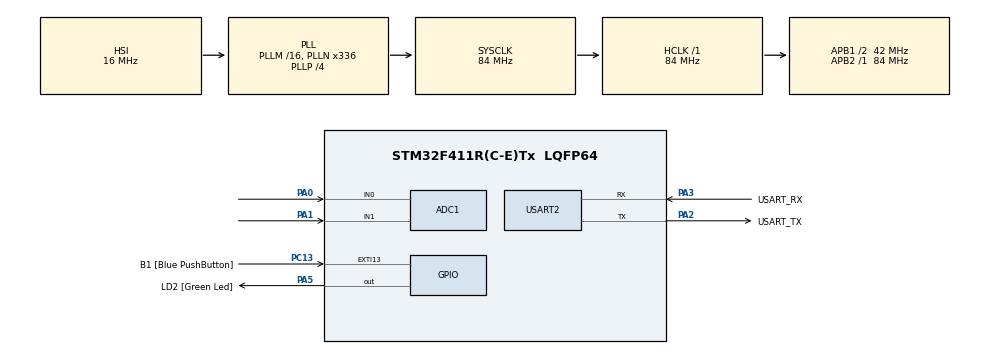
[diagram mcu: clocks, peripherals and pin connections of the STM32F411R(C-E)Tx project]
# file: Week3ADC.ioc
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ADC1.Channel-0\#ChannelRegularConversion=ADC_CHANNEL_0
ADC1.DiscontinuousConvMode=DISABLE
ADC1.NbrOfConversion=1
ADC1.NbrOfConversionFlag=1
ADC1.Rank-0\#ChannelRegularConversion=1
ADC1.SamplingTime-0\#ChannelRegularConversion=ADC_SAMPLETIME_3CYCLES
ADC1.master=1
Mcu.Family=STM32F4
Mcu.Name=STM32F411R(C-E)Tx
Mcu.Package=LQFP64
NVIC.PriorityGroup=NVIC_PRIORITYGROUP_0
PA0-WKUP.Signal=ADCx_IN0
PA1.Signal=ADCx_IN1
PA13.GPIO_Label=TMS
PA13.Mode=Serial_Wire
PA13.Signal=SYS_JTMS-SWDIO
PA14.GPIO_Label=TCK
PA14.Mode=Serial_Wire
PA14.Signal=SYS_JTCK-SWCLK
PA2.GPIO_Label=USART_TX
PA2.Mode=Asynchronous
PA2.Signal=USART2_TX
PA3.GPIO_Label=USART_RX
PA3.Mode=Asynchronous
PA3.Signal=USART2_RX
PA5.GPIO_Label=LD2 [Green Led]
PA5.Signal=GPIO_Output
PB3.GPIO_Label=SWO
PB3.Signal=SYS_JTDO-SWO
PC13-ANTI_TAMP.GPIO_Label=B1 [Blue PushButton]
PC13-ANTI_TAMP.GPIO_ModeDefaultEXTI=GPIO_MODE_IT_FALLING
PC13-ANTI_TAMP.Signal=GPXTI13
PC14-OSC32_IN.Mode=LSE-External-Oscillator
PC14-OSC32_IN.Signal=RCC_OSC32_IN
PC15-OSC32_OUT.Mode=LSE-External-Oscillator
PC15-OSC32_OUT.Signal=RCC_OSC32_OUT
PH0\ -\ OSC_IN.Mode=HSE-External-Clock-Source
PH0\ -\ OSC_IN.Signal=RCC_OSC_IN
PH1\ -\ OSC_OUT.Mode=HSE-External-Clock-Source
PH1\ -\ OSC_OUT.Signal=RCC_OSC_OUT
ProjectManager.HeapSize=0x200
ProjectManager.StackSize=0x400
ProjectManager.TargetToolchain=STM32CubeIDE
RCC.48MHZClocksFreq_Value=84000000
RCC.AHBFreq_Value=84000000
RCC.APB1CLKDivider=RCC_HCLK_DIV2
RCC.APB1Freq_Value=42000000
RCC.APB1TimFreq_Value=84000000
RCC.APB2Freq_Value=84000000
RCC.APB2TimFreq_Value=84000000
RCC.CortexFreq_Value=84000000
RCC.FLatency-AdvancedSettings=FLASH_LATENCY_2
RCC.HCLKFreq_Value=84000000
RCC.HSE_VALUE=8000000
RCC.HSI_VALUE=16000000
RCC.PLLN=336
RCC.PLLP=RCC_PLLP_DIV4
RCC.SYSCLKFreq_VALUE=84000000
RCC.SYSCLKSource=RCC_SYSCLKSOURCE_PLLCLK
RCC.VCOOutputFreq_Value=336000000
SH.ADCx_IN0.0=ADC1_IN0,IN0
SH.ADCx_IN1.0=ADC1_IN1,IN1
USART2.VirtualMode=VM_ASYNC
VP_ADC1_TempSens_Input.Mode=IN-TempSens
board=NUCLEO-F411RE

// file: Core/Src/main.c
/* USER CODE BEGIN Header */
/**
 ******************************************************************************
 * @file           : main.c
 * @brief          : Main program body
 ******************************************************************************
 * @attention
 *
 * <h2><center>&copy; Copyright (c) 2021 STMicroelectronics.
 * All rights reserved.</center></h2>
 *
 * This software component is licensed by ST under BSD 3-Clause license,
 * the "License"; You may not use this file except in compliance with the
 * License. You may obtain a copy of the License at:
 *                        opensource.org/licenses/BSD-3-Clause
 *
 ******************************************************************************
 */
/* USER CODE END Header */
#include "main.h"

ADC_HandleTypeDef hadc1;

UART_HandleTypeDef huart2;

/* USER CODE BEGIN PV */
uint16_t adcdata[2] = { 0 };
float ADCOutputConverted = 0.0;
int ADCMode = 0;
typedef struct {
	ADC_ChannelConfTypeDef Config;
	uint16_t data;
} ADCStructure;
int clck[2];
ADCStructure ADCChannel[2] = { 0 };
float Temp;
/* USER CODE END PV */

void SystemClock_Config(void);
static void MX_GPIO_Init(void);
static void MX_USART2_UART_Init(void);
static void MX_ADC1_Init(void);
/* USER CODE BEGIN PFP */
void ADCPollingMethodInit();
void ADCPollingMethodUpdate();
/* USER CODE END PFP */

int main(void) {

	/* MCU Configuration--------------------------------------------------------*/

	/* Reset of all peripherals, Initializes the Flash interface and the Systick. */
	HAL_Init();

	/* Configure the system clock */
	SystemClock_Config();

	/* Initialize all configured peripherals */
	MX_GPIO_Init();
	MX_USART2_UART_Init();
	MX_ADC1_Init();
	/* USER CODE BEGIN 2 */
	ADCPollingMethodInit();

	/* USER CODE END 2 */

	/* Infinite loop */
	while (1) {

		/* USER CODE BEGIN 3 */
		ADCPollingMethodUpdate();
		clck[0] = HAL_GPIO_ReadPin(GPIOC, GPIO_PIN_13);
		if (clck[0] == 0 && clck[1] != 0){
			if (ADCMode == 0) ADCMode = 1;
			else ADCMode = 0;
		}
		clck[1] = clck[0];
		if(ADCMode == 0){
			ADCOutputConverted = ADCChannel[0].data /4096.0*3300.0;
		}
		if(ADCMode == 1){
			Temp = ADCChannel[1].data/4096.0*3.3 ;
			ADCOutputConverted = ((ADCChannel[1].data/4096.0*3.3 - 0.76) / 2.5 *1000) +25;
		}
	}
	/* USER CODE END 3 */
}

void SystemClock_Config(void) {
	RCC_OscInitTypeDef RCC_OscInitStruct = { 0 };
	RCC_ClkInitTypeDef RCC_ClkInitStruct = { 0 };

	/** Configure the main internal regulator output voltage
	 */
	__HAL_RCC_PWR_CLK_ENABLE();
	__HAL_PWR_VOLTAGESCALING_CONFIG(PWR_REGULATOR_VOLTAGE_SCALE1);
	/** Initializes the RCC Oscillators according to the specified parameters
	 * in the RCC_OscInitTypeDef structure.
	 */
	RCC_OscInitStruct.OscillatorType = RCC_OSCILLATORTYPE_HSI;
	RCC_OscInitStruct.HSIState = RCC_HSI_ON;
	RCC_OscInitStruct.HSICalibrationValue = RCC_HSICALIBRATION_DEFAULT;
	RCC_OscInitStruct.PLL.PLLState = RCC_PLL_ON;
	RCC_OscInitStruct.PLL.PLLSource = RCC_PLLSOURCE_HSI;
	RCC_OscInitStruct.PLL.PLLM = 16;
	RCC_OscInitStruct.PLL.PLLN = 336;
	RCC_OscInitStruct.PLL.PLLP = RCC_PLLP_DIV4;
	RCC_OscInitStruct.PLL.PLLQ = 4;
	if (HAL_RCC_OscConfig(&RCC_OscInitStruct) != HAL_OK) {
		Error_Handler();
	}
	/** Initializes the CPU, AHB and APB buses clocks
	 */
	RCC_ClkInitStruct.ClockType = RCC_CLOCKTYPE_HCLK | RCC_CLOCKTYPE_SYSCLK
			| RCC_CLOCKTYPE_PCLK1 | RCC_CLOCKTYPE_PCLK2;
	RCC_ClkInitStruct.SYSCLKSource = RCC_SYSCLKSOURCE_PLLCLK;
	RCC_ClkInitStruct.AHBCLKDivider = RCC_SYSCLK_DIV1;
	RCC_ClkInitStruct.APB1CLKDivider = RCC_HCLK_DIV2;
	RCC_ClkInitStruct.APB2CLKDivider = RCC_HCLK_DIV1;

	if (HAL_RCC_ClockConfig(&RCC_ClkInitStruct, FLASH_LATENCY_2) != HAL_OK) {
		Error_Handler();
	}
}

static void MX_ADC1_Init(void) {

	ADC_ChannelConfTypeDef sConfig = { 0 };

	/** Configure the global features of the ADC (Clock, Resolution, Data Alignment and number of conversion)
	 */
	hadc1.Instance = ADC1;
	hadc1.Init.ClockPrescaler = ADC_CLOCK_SYNC_PCLK_DIV4;
	hadc1.Init.Resolution = ADC_RESOLUTION_12B;
	hadc1.Init.ScanConvMode = DISABLE;
	hadc1.Init.ContinuousConvMode = DISABLE;
	hadc1.Init.DiscontinuousConvMode = DISABLE;
	hadc1.Init.ExternalTrigConvEdge = ADC_EXTERNALTRIGCONVEDGE_NONE;
	hadc1.Init.ExternalTrigConv = ADC_SOFTWARE_START;
	hadc1.Init.DataAlign = ADC_DATAALIGN_RIGHT;
	hadc1.Init.NbrOfConversion = 1;
	hadc1.Init.DMAContinuousRequests = DISABLE;
	hadc1.Init.EOCSelection = ADC_EOC_SINGLE_CONV;
	if (HAL_ADC_Init(&hadc1) != HAL_OK) {
		Error_Handler();
	}
	/** Configure for the selected ADC regular channel its corresponding rank in the sequencer and its sample time.
	 */
	sConfig.Channel = ADC_CHANNEL_0;
	sConfig.Rank = 1;
	sConfig.SamplingTime = ADC_SAMPLETIME_3CYCLES;
	if (HAL_ADC_ConfigChannel(&hadc1, &sConfig) != HAL_OK) {
		Error_Handler();
	}

}

static void MX_USART2_UART_Init(void) {

	huart2.Instance = USART2;
	huart2.Init.BaudRate = 115200;
	huart2.Init.WordLength = UART_WORDLENGTH_8B;
	huart2.Init.StopBits = UART_STOPBITS_1;
	huart2.Init.Parity = UART_PARITY_NONE;
	huart2.Init.Mode = UART_MODE_TX_RX;
	huart2.Init.HwFlowCtl = UART_HWCONTROL_NONE;
	huart2.Init.OverSampling = UART_OVERSAMPLING_16;
	if (HAL_UART_Init(&huart2) != HAL_OK) {
		Error_Handler();
	}

}

static void MX_GPIO_Init(void) {
	GPIO_InitTypeDef GPIO_InitStruct = { 0 };

	/* GPIO Ports Clock Enable */
	__HAL_RCC_GPIOC_CLK_ENABLE();
	__HAL_RCC_GPIOH_CLK_ENABLE();
	__HAL_RCC_GPIOA_CLK_ENABLE();
	__HAL_RCC_GPIOB_CLK_ENABLE();

	/*Configure GPIO pin Output Level */
	HAL_GPIO_WritePin(LD2_GPIO_Port, LD2_Pin, GPIO_PIN_RESET);

	/*Configure GPIO pin : B1_Pin */
	GPIO_InitStruct.Pin = B1_Pin;
	GPIO_InitStruct.Mode = GPIO_MODE_IT_FALLING;
	GPIO_InitStruct.Pull = GPIO_NOPULL;
	HAL_GPIO_Init(B1_GPIO_Port, &GPIO_InitStruct);

	/*Configure GPIO pin : LD2_Pin */
	GPIO_InitStruct.Pin = LD2_Pin;
	GPIO_InitStruct.Mode = GPIO_MODE_OUTPUT_PP;
	GPIO_InitStruct.Pull = GPIO_NOPULL;
	GPIO_InitStruct.Speed = GPIO_SPEED_FREQ_LOW;
	HAL_GPIO_Init(LD2_GPIO_Port, &GPIO_InitStruct);

}

/* USER CODE BEGIN 4 */
void ADCPollingMethodInit() {
	//config all ADC Channel
	ADCChannel[0].Config.Channel = ADC_CHANNEL_0;
	ADCChannel[0].Config.Rank = 1;
	ADCChannel[0].Config.SamplingTime = ADC_SAMPLETIME_3CYCLES;

	ADCChannel[1].Config.Channel = ADC_CHANNEL_TEMPSENSOR;
	ADCChannel[1].Config.Rank = 1;
	ADCChannel[1].Config.SamplingTime = ADC_SAMPLETIME_3CYCLES;
}
//Polling Method
void ADCPollingMethodUpdate() {
	//Read all 3 Channel
	for (int i = 0; i < 2; i++) {
		HAL_ADC_ConfigChannel(&hadc1, &ADCChannel[i].Config);
		HAL_ADC_Start(&hadc1);
		HAL_ADC_PollForConversion(&hadc1, 10);
		ADCChannel[i].data = HAL_ADC_GetValue(&hadc1);
		HAL_ADC_Stop(&hadc1);
	}
}
/* USER CODE END 4 */

void Error_Handler(void) {
	__disable_irq();
	while (1) {
	}
}

/************************ (C) COPYRIGHT STMicroelectronics *****END OF FILE****/
